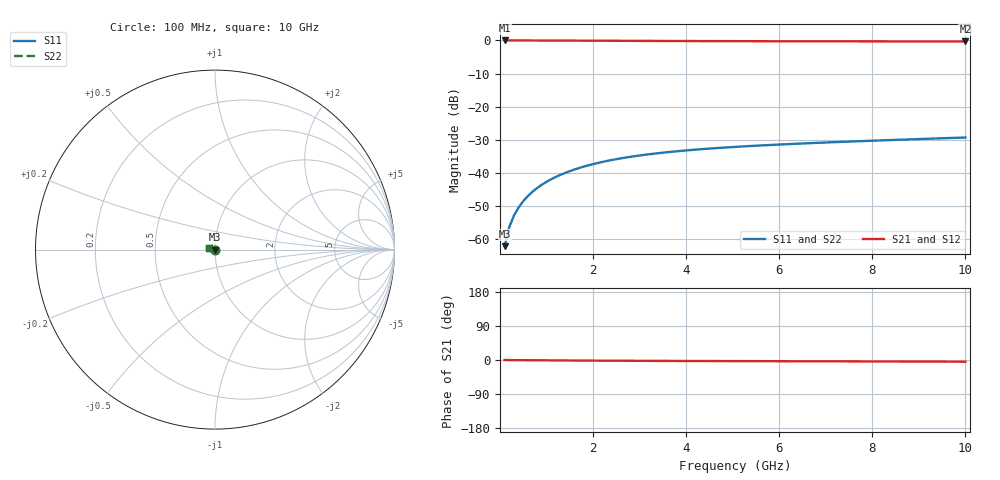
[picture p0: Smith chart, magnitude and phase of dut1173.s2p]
! Touchstone file exported from HFSS 2024.1.0
!  File:  C:/UserFiles/LocalFiles/RDL_TSV_Batchsim/temp_TSV1_1173_1780073922.aedt
!  Generated:  01:05:29 AM May 30, 2026
!  Design:  TSV1
!  Project:  temp_TSV1_1173_1780073922
!  Setup:  Setup1
!  Solution:  Sweep
! Variables:
!  dtsv = 7.74um
!  hbump = 3um
!  htsv = 65.61um
!  lrdl = 252.1521522um
!  p = 40
!  p1 = 49.25um
!  t = 500um
!  trdl = 3um
!  wrdl = 24.89489489um
# GHz S MA R 50.000000
! Terminal data exported
! Port[1] = TSV22_T1
! Port[2] = TSV22_T2
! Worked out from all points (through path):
!   100 points, 100 MHz to 10 GHz, reference 50 ohm
!   highest |S21| = 0.00 dB at 100 MHz (marker M1); lowest = -0.3 dB at 10 GHz (marker M2)
!   lowest |S11| = -62.2 dB at 100 MHz (marker M3), VSWR 1.00, Z = 50 - j0.0756 ohm
!   |S11| at or under -10 dB: start of sweep to end of sweep
!   |S22| runs from -62.2 to -29.3 dB; largest |S21 - S12| = 5.4e-15
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0.1  0.0007788 -76.0  0.9998 -0.1  0.9998 -0.1  0.0007788 -76.0
! Gamma 0 0 0 0
! Port Impedance 50 0 50 0
0.2  0.001511 -85.9  0.9997 -0.2  0.9997 -0.2  0.001511 -85.9
0.3  0.002252 -90.6  0.9995 -0.3  0.9995 -0.3  0.002252 -90.6
0.4  0.002991 -94.0  0.9993 -0.4  0.9993 -0.4  0.002991 -94.0
0.5  0.003728 -96.8  0.9991 -0.5  0.9991 -0.5  0.003728 -96.8
0.6  0.004459 -99.3  0.9988 -0.6  0.9988 -0.6  0.004459 -99.3
0.7  0.005184 -101.6  0.9984 -0.7  0.9984 -0.7  0.005184 -101.6
0.8  0.0059 -103.8  0.9981 -0.7  0.9981 -0.7  0.0059 -103.8
0.9  0.006608 -105.9  0.9976 -0.8  0.9976 -0.8  0.006608 -105.9
1.1  0.00799 -110.0  0.9967 -1.0  0.9967 -1.0  0.00799 -110.0
1.4  0.009968 -115.7  0.9951 -1.2  0.9951 -1.2  0.009968 -115.7
1.6  0.01122 -119.4  0.9939 -1.4  0.9939 -1.4  0.01122 -119.4
1.8  0.0124 -122.9  0.9926 -1.5  0.9926 -1.5  0.0124 -122.9
2.1  0.01407 -127.9  0.9907 -1.7  0.9907 -1.7  0.01407 -127.9
2.5  0.01608 -134.1  0.9881 -1.9  0.9881 -1.9  0.01608 -134.1
2.9  0.01786 -139.9  0.9856 -2.1  0.9856 -2.1  0.01786 -139.9
3.4  0.0198 -146.6  0.9827 -2.4  0.9827 -2.4  0.0198 -146.6
4.2  0.02238 -156.0  0.9786 -2.7  0.9786 -2.7  0.02238 -156.0
5.1  0.02474 -165.2  0.9749 -2.9  0.9749 -2.9  0.02474 -165.2
6.7  0.02813 -178.5  0.9702 -3.4  0.9702 -3.4  0.02813 -178.5
8.4  0.03126 170.2  0.967 -3.9  0.967 -3.9  0.03126 170.2
10  0.03415 161.5  0.9647 -4.4  0.9647 -4.4  0.03415 161.5
